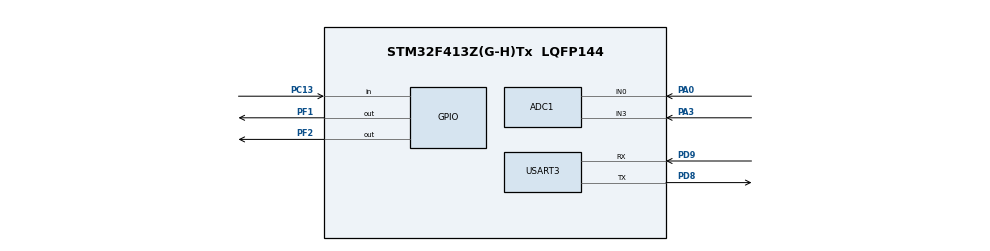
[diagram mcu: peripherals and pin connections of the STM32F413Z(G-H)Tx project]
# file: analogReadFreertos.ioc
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ADC1.Channel-0\#ChannelRegularConversion=ADC_CHANNEL_0
ADC1.Channel-1\#ChannelRegularConversion=ADC_CHANNEL_3
ADC1.DMAContinuousRequests=ENABLE
ADC1.NbrOfConversion=2
ADC1.NbrOfConversionFlag=1
ADC1.Rank-0\#ChannelRegularConversion=1
ADC1.Rank-1\#ChannelRegularConversion=2
ADC1.SamplingTime-0\#ChannelRegularConversion=ADC_SAMPLETIME_3CYCLES
ADC1.SamplingTime-1\#ChannelRegularConversion=ADC_SAMPLETIME_3CYCLES
ADC1.master=1
Dma.ADC1.0.Direction=DMA_PERIPH_TO_MEMORY
Dma.ADC1.0.FIFOMode=DMA_FIFOMODE_DISABLE
Dma.ADC1.0.Instance=DMA2_Stream0
Dma.ADC1.0.MemDataAlignment=DMA_MDATAALIGN_HALFWORD
Dma.ADC1.0.MemInc=DMA_MINC_ENABLE
Dma.ADC1.0.Mode=DMA_NORMAL
Dma.ADC1.0.PeriphDataAlignment=DMA_PDATAALIGN_HALFWORD
Dma.ADC1.0.PeriphInc=DMA_PINC_DISABLE
Dma.ADC1.0.Priority=DMA_PRIORITY_LOW
Dma.Request0=ADC1
FREERTOS.Tasks01=analogRead,24,128,taskAnalogRead,Default,NULL,Dynamic,NULL,NULL;checkButtom,24,128,onOff,Default,NULL,Dynamic,NULL,NULL
Mcu.Family=STM32F4
Mcu.Name=STM32F413Z(G-H)Tx
Mcu.Package=LQFP144
NVIC.DMA2_Stream0_IRQn=true\:5\:0\:false\:false\:true\:true\:false\:true\:true
NVIC.PriorityGroup=NVIC_PRIORITYGROUP_4
PA0.Signal=ADCx_IN0
PA3.Signal=ADCx_IN3
PC13.Signal=GPIO_Input
PD8.Mode=Asynchronous
PD8.Signal=USART3_TX
PD9.Mode=Asynchronous
PD9.Signal=USART3_RX
PF1.Signal=GPIO_Output
PF2.Signal=GPIO_Output
ProjectManager.HeapSize=0x200
ProjectManager.StackSize=0x400
ProjectManager.TargetToolchain=STM32CubeIDE
RCC.CortexFreq_Value=16000000
RCC.USBFreq_Value=96000000
RCC.VCOOutputFreq_Value=192000000
SH.ADCx_IN0.0=ADC1_IN0,IN0
SH.ADCx_IN3.0=ADC1_IN3,IN3
USART3.VirtualMode=VM_ASYNC
VP_FREERTOS_VS_CMSIS_V2.Mode=CMSIS_V2
board=custom

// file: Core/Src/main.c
/* USER CODE BEGIN Header */
/**
  ******************************************************************************
  * @file           : main.c
  * @brief          : Main program body
  ******************************************************************************
  * @attention
  *
  * Copyright (c) 2022 STMicroelectronics.
  * All rights reserved.
  *
  * This software is licensed under terms that can be found in the LICENSE file
  * in the root directory of this software component.
  * If no LICENSE file comes with this software, it is provided AS-IS.
  *
  ******************************************************************************
  */
/* USER CODE END Header */
#include "main.h"
#include "cmsis_os.h"
#include <math.h>

ADC_HandleTypeDef hadc1;
DMA_HandleTypeDef hdma_adc1;

UART_HandleTypeDef huart3;

/* Definitions for analogRead */
osThreadId_t analogReadHandle;
const osThreadAttr_t analogRead_attributes = {
  .name = "analogRead",
  .stack_size = 128 * 4,
  .priority = (osPriority_t) osPriorityNormal,
};
/* Definitions for checkButtom */
osThreadId_t checkButtomHandle;
const osThreadAttr_t checkButtom_attributes = {
  .name = "checkButtom",
  .stack_size = 128 * 4,
  .priority = (osPriority_t) osPriorityAboveNormal,
};
/* USER CODE BEGIN PV */
volatile uint16_t adcResultsDMA [3];
const  adcChannelCount = sizeof (adcResultsDMA)/ sizeof (adcResultsDMA[0]);
volatile  adcConversionComplete = 0;
long double tempo;
char msg[40];

/* USER CODE END PV */

void SystemClock_Config(void);
static void MX_GPIO_Init(void);
static void MX_DMA_Init(void);
static void MX_ADC1_Init(void);
static void MX_USART3_UART_Init(void);
void taskAnalogRead(void *argument);
void onOff(void *argument);

int main(void)
{

  /* MCU Configuration--------------------------------------------------------*/

  /* Reset of all peripherals, Initializes the Flash interface and the Systick. */
  HAL_Init();

  /* Configure the system clock */
  SystemClock_Config();

  /* Initialize all configured peripherals */
  MX_GPIO_Init();
  MX_DMA_Init();
  MX_ADC1_Init();
  MX_USART3_UART_Init();

  /* Init scheduler */
  osKernelInitialize();

  /* Create the thread(s) */
  /* creation of analogRead */
  analogReadHandle = osThreadNew(taskAnalogRead, NULL, &analogRead_attributes);

  /* creation of checkButtom */
  checkButtomHandle = osThreadNew(onOff, NULL, &checkButtom_attributes);

  /* Start scheduler */
  osKernelStart();

  /* We should never get here as control is now taken by the scheduler */
  /* Infinite loop */
  while (1)
  {

  }
}

void SystemClock_Config(void)
{
  RCC_OscInitTypeDef RCC_OscInitStruct = {0};
  RCC_ClkInitTypeDef RCC_ClkInitStruct = {0};

  /** Configure the main internal regulator output voltage
  */
  __HAL_RCC_PWR_CLK_ENABLE();
  __HAL_PWR_VOLTAGESCALING_CONFIG(PWR_REGULATOR_VOLTAGE_SCALE1);

  /** Initializes the RCC Oscillators according to the specified parameters
  * in the RCC_OscInitTypeDef structure.
  */
  RCC_OscInitStruct.OscillatorType = RCC_OSCILLATORTYPE_HSI;
  RCC_OscInitStruct.HSIState = RCC_HSI_ON;
  RCC_OscInitStruct.HSICalibrationValue = RCC_HSICALIBRATION_DEFAULT;
  RCC_OscInitStruct.PLL.PLLState = RCC_PLL_NONE;
  if (HAL_RCC_OscConfig(&RCC_OscInitStruct) != HAL_OK)
  {
    Error_Handler();
  }

  /** Initializes the CPU, AHB and APB buses clocks
  */
  RCC_ClkInitStruct.ClockType = RCC_CLOCKTYPE_HCLK|RCC_CLOCKTYPE_SYSCLK
                              |RCC_CLOCKTYPE_PCLK1|RCC_CLOCKTYPE_PCLK2;
  RCC_ClkInitStruct.SYSCLKSource = RCC_SYSCLKSOURCE_HSI;
  RCC_ClkInitStruct.AHBCLKDivider = RCC_SYSCLK_DIV1;
  RCC_ClkInitStruct.APB1CLKDivider = RCC_HCLK_DIV1;
  RCC_ClkInitStruct.APB2CLKDivider = RCC_HCLK_DIV1;

  if (HAL_RCC_ClockConfig(&RCC_ClkInitStruct, FLASH_LATENCY_0) != HAL_OK)
  {
    Error_Handler();
  }
}

static void MX_ADC1_Init(void)
{

  ADC_ChannelConfTypeDef sConfig = {0};

  /** Configure the global features of the ADC (Clock, Resolution, Data Alignment and number of conversion)
  */
  hadc1.Instance = ADC1;
  hadc1.Init.ClockPrescaler = ADC_CLOCK_SYNC_PCLK_DIV2;
  hadc1.Init.Resolution = ADC_RESOLUTION_12B;
  hadc1.Init.ScanConvMode = ENABLE;
  hadc1.Init.ContinuousConvMode = DISABLE;
  hadc1.Init.DiscontinuousConvMode = DISABLE;
  hadc1.Init.ExternalTrigConvEdge = ADC_EXTERNALTRIGCONVEDGE_NONE;
  hadc1.Init.ExternalTrigConv = ADC_SOFTWARE_START;
  hadc1.Init.DataAlign = ADC_DATAALIGN_RIGHT;
  hadc1.Init.NbrOfConversion = 2;
  hadc1.Init.DMAContinuousRequests = ENABLE;
  hadc1.Init.EOCSelection = ADC_EOC_SINGLE_CONV;
  if (HAL_ADC_Init(&hadc1) != HAL_OK)
  {
    Error_Handler();
  }

  /** Configure for the selected ADC regular channel its corresponding rank in the sequencer and its sample time.
  */
  sConfig.Channel = ADC_CHANNEL_0;
  sConfig.Rank = 1;
  sConfig.SamplingTime = ADC_SAMPLETIME_3CYCLES;
  if (HAL_ADC_ConfigChannel(&hadc1, &sConfig) != HAL_OK)
  {
    Error_Handler();
  }

  /** Configure for the selected ADC regular channel its corresponding rank in the sequencer and its sample time.
  */
  sConfig.Channel = ADC_CHANNEL_3;
  sConfig.Rank = 2;
  if (HAL_ADC_ConfigChannel(&hadc1, &sConfig) != HAL_OK)
  {
    Error_Handler();
  }

}

static void MX_USART3_UART_Init(void)
{

  huart3.Instance = USART3;
  huart3.Init.BaudRate = 115200;
  huart3.Init.WordLength = UART_WORDLENGTH_8B;
  huart3.Init.StopBits = UART_STOPBITS_1;
  huart3.Init.Parity = UART_PARITY_NONE;
  huart3.Init.Mode = UART_MODE_TX_RX;
  huart3.Init.HwFlowCtl = UART_HWCONTROL_NONE;
  huart3.Init.OverSampling = UART_OVERSAMPLING_16;
  if (HAL_UART_Init(&huart3) != HAL_OK)
  {
    Error_Handler();
  }

}

static void MX_DMA_Init(void)
{

  /* DMA controller clock enable */
  __HAL_RCC_DMA2_CLK_ENABLE();

  /* DMA interrupt init */
  /* DMA2_Stream0_IRQn interrupt configuration */
  HAL_NVIC_SetPriority(DMA2_Stream0_IRQn, 5, 0);
  HAL_NVIC_EnableIRQ(DMA2_Stream0_IRQn);

}

static void MX_GPIO_Init(void)
{
  GPIO_InitTypeDef GPIO_InitStruct = {0};

  /* GPIO Ports Clock Enable */
  __HAL_RCC_GPIOC_CLK_ENABLE();
  __HAL_RCC_GPIOF_CLK_ENABLE();
  __HAL_RCC_GPIOA_CLK_ENABLE();
  __HAL_RCC_GPIOD_CLK_ENABLE();

  /*Configure GPIO pin Output Level */
  HAL_GPIO_WritePin(GPIOF, GPIO_PIN_1|GPIO_PIN_2, GPIO_PIN_RESET);

  /*Configure GPIO pin : PC13 */
  GPIO_InitStruct.Pin = GPIO_PIN_13;
  GPIO_InitStruct.Mode = GPIO_MODE_INPUT;
  GPIO_InitStruct.Pull = GPIO_NOPULL;
  HAL_GPIO_Init(GPIOC, &GPIO_InitStruct);

  /*Configure GPIO pins : PF1 PF2 */
  GPIO_InitStruct.Pin = GPIO_PIN_1|GPIO_PIN_2;
  GPIO_InitStruct.Mode = GPIO_MODE_OUTPUT_PP;
  GPIO_InitStruct.Pull = GPIO_NOPULL;
  GPIO_InitStruct.Speed = GPIO_SPEED_FREQ_LOW;
  HAL_GPIO_Init(GPIOF, &GPIO_InitStruct);

}

/* USER CODE BEGIN 4 */
void HAL_ADC_ConvCpltCallback(ADC_HandleTypeDef *hadc)
{
	adcConversionComplete = 1;
}
/* USER CODE END 4 */

void taskAnalogRead(void *argument)
{
  /* USER CODE BEGIN 5 */
  /* Infinite loop */
  for(;;)
  {
	/* USER CODE BEGIN 3 */
	  HAL_ADC_Start_DMA(&hadc1, (uint32_t*)adcResultsDMA, 2);
	  while (adcConversionComplete == 0)
	  {

	  }

	  adcConversionComplete = 0;
	  tempo = log(((524000000/adcResultsDMA[0]) - 100));
	  tempo = tempo * 1.5;
	  //tempo = 1 / (0.001129148 + (0.000234125 + (0.0000000876741 * tempo * tempo ))* tempo );
	  //tempo = tempo - 273.1;
	  sprintf(msg, "Temp = %.2lf C\tCurrent =%d mA\r\n", tempo, adcResultsDMA[1]-2000 );
	  HAL_UART_Transmit(&huart3,(uint8_t*)msg, strlen(msg), HAL_MAX_DELAY);
	  HAL_Delay(10);
    osDelay(1);
  }
  /* USER CODE END 5 */
}

void onOff(void *argument)
{
  /* USER CODE BEGIN onOff */
  /* Infinite loop */
  for(;;)
  {
		//if(adcResultsDMA[0]>3300){
	    if (tempo <= 17.95){
			HAL_GPIO_WritePin(GPIOF, GPIO_PIN_1, SET);
			HAL_Delay(50);
		}
		else{
			HAL_GPIO_WritePin(GPIOF, GPIO_PIN_1, RESET);
			HAL_Delay(50);
		}

	    osDelay(1);
  }
  /* USER CODE END onOff */
}

void Error_Handler(void)
{
  __disable_irq();
  while (1)
  {
  }
}
